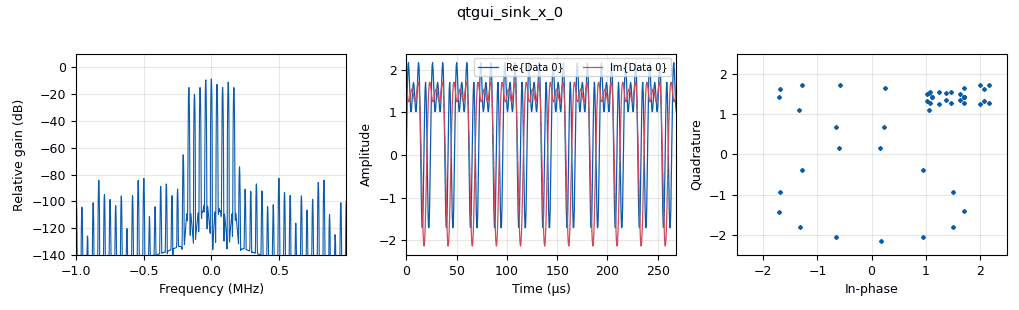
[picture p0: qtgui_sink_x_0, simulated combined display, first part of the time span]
options:
  parameters:
    author: shup-liu
    generate_options: qt_gui
    id: bladerf_digital_loopback
    output_language: python
    title: Not titled yet
  states: {}

blocks:
- name: alpha
  id: variable
  parameters:
    comment: |-
      alpha = 0.2
      bandwidth -
    value: '0.2'
  states: {}
- name: constell0
  id: variable_constellation
  parameters:
    precision: '8'
    type: qpsk
  states: {}
- name: constell0_0
  id: variable_constellation
  parameters:
    const_points: '[-1-1j, -1+1j, 1+1j, 1-1j]'
    dims: '1'
    normalization: digital.constellation.AMPLITUDE_NORMALIZATION
    precision: '8'
    rot_sym: '4'
    sym_map: '[0, 1, 3, 2]'
    type: calcdist
  states: {state: disabled}
- name: frequency
  id: variable_qtgui_range
  parameters:
    start: 500e6
    step: 100e6
    stop: 2.5e9
    value: 2.1e9
  states: {}
- name: offset
  id: variable_qtgui_range
  parameters:
    comment: |-
      Idk why we need this...
      "Because clocks are not synchronized??"
    start: '-200000'
    step: '100'
    stop: '200000'
    value: '0'
  states: {state: disabled}
- name: samp_rate
  id: variable
  parameters:
    value: 2e6
  states: {}
- name: sps
  id: variable
  parameters:
    comment: sample_per_symbol
    value: '6'
  states: {}
- name: analog_agc3_xx_0
  id: analog_agc3_xx
  parameters:
    attack_rate: '1e-3'
    comment: |-
      AGC3 is better...?

      ... no?
    decay_rate: '1e-4'
    gain: '1.0'
    iir_update_decim: '1'
    max_gain: '65536'
    reference: '1.0'
    type: complex
  states: {state: disabled}
- name: analog_agc_xx_0
  id: analog_agc_xx
  parameters:
    comment: scales amplitude
    gain: '1.0'
    max_gain: '65536'
    rate: '1e-4'
    reference: '1.0'
    type: complex
  states: {state: disabled}
- name: analog_sig_source_x_0
  id: analog_sig_source_x
  parameters:
    amp: '1'
    freq: frequency
    offset: offset
    phase: '0'
    samp_rate: samp_rate
    type: complex
    waveform: analog.GR_COS_WAVE
  states: {state: disabled}
- name: analog_wfm_tx_0
  id: analog_wfm_tx
  parameters:
    audio_rate: '48000'
    fh: '-1.0'
    max_dev: 75e3
    quad_rate: '48000'
    tau: '75e-6'
  states: {state: disabled}
- name: blocks_multiply_const_vxx_0
  id: blocks_multiply_const_vxx
  parameters:
    comment: No idea what this does
    const: '1'
    type: complex
  states: {}
- name: blocks_multiply_xx_0
  id: blocks_multiply_xx
  parameters:
    type: complex
  states: {state: disabled}
- name: blocks_pack_k_bits_bb_0
  id: blocks_pack_k_bits_bb
  parameters:
    k: '2'
  states: {state: disabled}
- name: blocks_packed_to_unpacked_xx_0
  id: blocks_packed_to_unpacked_xx
  parameters:
    bits_per_chunk: '2'
    endianness: gr.GR_MSB_FIRST
    type: byte
  states: {}
- name: blocks_repeat_0
  id: blocks_repeat
  parameters:
    interp: sps
    type: complex
  states: {state: disabled}
- name: blocks_skiphead_0
  id: blocks_skiphead
  parameters:
    num_items: int(samp_rate)
    type: complex
  states: {state: disabled}
- name: blocks_uchar_to_float_0
  id: blocks_uchar_to_float
  parameters: {}
  states: {}
- name: blocks_unpack_k_bits_bb_0
  id: blocks_unpack_k_bits_bb
  parameters:
    k: '2'
  states: {state: disabled}
- name: blocks_unpacked_to_packed_xx_0
  id: blocks_unpacked_to_packed_xx
  parameters:
    bits_per_chunk: '2'
    comment: used en lieu of "pack K bits", see if better...
    endianness: gr.GR_MSB_FIRST
    type: byte
  states: {}
- name: blocks_vector_source_x_0
  id: blocks_vector_source_x
  parameters:
    repeat: 'True'
    type: byte
    vector: (1, 1, 1, 0, 0, 0, 0, 1)
  states: {}
- name: blocks_vector_source_x_0_0
  id: blocks_vector_source_x
  parameters:
    repeat: 'True'
    type: complex
    vector: (1+ 1j,)
  states: {state: disabled}
- name: blocks_wavfile_source_0
  id: blocks_wavfile_source
  parameters:
    file: /home/shup-liu/Code/FINCH-RF-SDR/grc/wahahaha.mp3
    repeat: 'True'
  states: {state: disabled}
- name: digital_constellation_decoder_cb_0
  id: digital_constellation_decoder_cb
  parameters:
    constellation: constell0
  states: {}
- name: digital_constellation_encoder_bc_0
  id: digital_constellation_encoder_bc
  parameters:
    constellation: constell0
  states: {state: disabled}
- name: digital_constellation_modulator_0
  id: digital_constellation_modulator
  parameters:
    constellation: constell0
    differential: 'True'
    excess_bw: alpha
    samples_per_symbol: sps
  states: {}
- name: digital_costas_loop_cc_0
  id: digital_costas_loop_cc
  parameters:
    order: '4'
    w: 2*math.pi/100
  states: {}
- name: digital_fll_band_edge_cc_0
  id: digital_fll_band_edge_cc
  parameters:
    filter_size: sps*2+1
    rolloff: alpha
    samps_per_sym: sps
    type: cc
    w: 2*math.pi/sps/100
  states: {state: disabled}
- name: digital_symbol_sync_xx_0
  id: digital_symbol_sync_xx
  parameters:
    constellation: digital.constellation_qpsk().base()
    damping: '1.0'
    loop_bw: '0.045'
    max_dev: '1.5'
    osps: '1'
    resamp_type: digital.IR_MMSE_8TAP
    sps: sps
    ted_gain: '1.0'
    ted_type: digital.TED_SIGNAL_TIMES_SLOPE_ML
    type: cc
  states: {}
- name: fec_ber_bf_0
  id: fec_ber_bf
  parameters:
    test_mode: 'False'
  states: {}
- name: import_0
  id: import
  parameters:
    imports: import math
  states: {}
- name: qtgui_const_sink_x_0
  id: qtgui_const_sink_x
  parameters:
    size: '1024'
    type: complex
  states: {}
- name: qtgui_sink_x_0
  id: qtgui_sink_x
  parameters:
    bw: samp_rate
    fc: '0'
    fftsize: '1024'
    type: complex
  states: {}
- name: qtgui_time_sink_x_1
  id: qtgui_time_sink_x
  parameters:
    ctrlpanel: 'True'
    size: '1024'
    srate: samp_rate
    type: complex
  states: {}
- name: qtgui_time_sink_x_3
  id: qtgui_time_sink_x
  parameters:
    ctrlpanel: 'True'
    marker1: '0'
    name: '"Unpacked data"'
    size: '1024'
    srate: samp_rate
    type: float
  states: {}
- name: root_raised_cosine_filter_0
  id: root_raised_cosine_filter
  parameters:
    alpha: alpha
    decim: '1'
    gain: '1'
    ntaps: 11*sps
    samp_rate: samp_rate
    sym_rate: samp_rate/sps
    type: fir_filter_ccf
  states: {state: disabled}
- name: root_raised_cosine_filter_1
  id: root_raised_cosine_filter
  parameters:
    alpha: '0.35'
    comment: tom's block (?)
    decim: '1'
    gain: '1'
    ntaps: int(11*samp_rate)
    samp_rate: samp_rate
    sym_rate: samp_rate/4
    type: fir_filter_ccf
  states: {}
- name: soapy_bladerf_sink_0
  id: soapy_bladerf_sink
  parameters:
    center_freq: frequency
    gain: '20'
    samp_rate: samp_rate
    type: fc32
  states: {state: disabled}
- name: soapy_bladerf_source_1
  id: soapy_bladerf_source
  parameters:
    center_freq: frequency
    gain: '40'
    samp_rate: samp_rate
    type: fc32
  states: {state: disabled}
- name: soapy_plutosdr_sink_0
  id: soapy_plutosdr_sink
  parameters:
    center_freq: 2.1e9
    gain: '60'
    samp_rate: samp_rate
    type: fc32
  states: {state: disabled}
- name: soapy_plutosdr_source_0
  id: soapy_plutosdr_source
  parameters:
    center_freq: 2.1e9
    gain: '40'
    samp_rate: samp_rate
    type: fc32
  states: {state: disabled}
- name: virtual_sink_0
  id: virtual_sink
  parameters:
    stream_id: rx_signal_filtered
  states: {}
- name: virtual_source_0
  id: virtual_source
  parameters:
    stream_id: rx_signal_filtered
  states: {}
- name: zeromq_pull_source_0
  id: zeromq_pull_source
  parameters:
    timeout: '100'
    type: complex
  states: {state: disabled}
- name: zeromq_push_sink_0
  id: zeromq_push_sink
  parameters:
    timeout: '100'
    type: complex
  states: {state: disabled}

connections:
- [analog_agc3_xx_0, '0', digital_symbol_sync_xx_0, '0']
- [analog_agc_xx_0, '0', digital_fll_band_edge_cc_0, '0']
- [analog_agc_xx_0, '0', digital_symbol_sync_xx_0, '0']
- [analog_sig_source_x_0, '0', blocks_multiply_xx_0, '1']
- [blocks_multiply_const_vxx_0, '0', qtgui_sink_x_0, '0']
- [blocks_multiply_const_vxx_0, '0', root_raised_cosine_filter_1, '0']
- [blocks_multiply_const_vxx_0, '0', soapy_bladerf_sink_0, '0']
- [blocks_multiply_const_vxx_0, '0', soapy_plutosdr_sink_0, '0']
- [blocks_multiply_xx_0, '0', analog_agc_xx_0, '0']
- [blocks_pack_k_bits_bb_0, '0', digital_constellation_encoder_bc_0, '0']
- [blocks_pack_k_bits_bb_0, '0', digital_constellation_modulator_0, '0']
- [blocks_packed_to_unpacked_xx_0, '0', blocks_uchar_to_float_0, '0']
- [blocks_repeat_0, '0', soapy_bladerf_sink_0, '0']
- [blocks_repeat_0, '0', soapy_plutosdr_sink_0, '0']
- [blocks_skiphead_0, '0', digital_symbol_sync_xx_0, '0']
- [blocks_uchar_to_float_0, '0', qtgui_time_sink_x_3, '0']
- [blocks_unpack_k_bits_bb_0, '0', blocks_uchar_to_float_0, '0']
- [blocks_unpacked_to_packed_xx_0, '0', digital_constellation_modulator_0, '0']
- [blocks_vector_source_x_0, '0', blocks_pack_k_bits_bb_0, '0']
- [blocks_vector_source_x_0, '0', blocks_unpacked_to_packed_xx_0, '0']
- [blocks_vector_source_x_0_0, '0', blocks_repeat_0, '0']
- [blocks_wavfile_source_0, '0', analog_wfm_tx_0, '0']
- [digital_constellation_decoder_cb_0, '0', blocks_packed_to_unpacked_xx_0, '0']
- [digital_constellation_decoder_cb_0, '0', blocks_unpack_k_bits_bb_0, '0']
- [digital_constellation_encoder_bc_0, '0', blocks_repeat_0, '0']
- [digital_constellation_modulator_0, '0', blocks_multiply_const_vxx_0, '0']
- [digital_costas_loop_cc_0, '0', digital_constellation_decoder_cb_0, '0']
- [digital_costas_loop_cc_0, '0', qtgui_const_sink_x_0, '0']
- [digital_costas_loop_cc_0, '0', qtgui_time_sink_x_1, '0']
- [digital_fll_band_edge_cc_0, '0', blocks_skiphead_0, '0']
- [digital_fll_band_edge_cc_0, '0', root_raised_cosine_filter_0, '0']
- [digital_symbol_sync_xx_0, '0', digital_costas_loop_cc_0, '0']
- [root_raised_cosine_filter_0, '0', digital_symbol_sync_xx_0, '0']
- [root_raised_cosine_filter_0, '0', qtgui_const_sink_x_0, '0']
- [root_raised_cosine_filter_0, '0', qtgui_time_sink_x_1, '0']
- [root_raised_cosine_filter_1, '0', virtual_sink_0, '0']
- [soapy_bladerf_source_1, '0', analog_agc3_xx_0, '0']
- [soapy_bladerf_source_1, '0', analog_agc_xx_0, '0']
- [soapy_bladerf_source_1, '0', blocks_multiply_xx_0, '0']
- [soapy_plutosdr_source_0, '0', analog_agc3_xx_0, '0']
- [virtual_source_0, '0', digital_symbol_sync_xx_0, '0']

metadata:
  file_format: 1
  grc_version: 3.10.12.0
